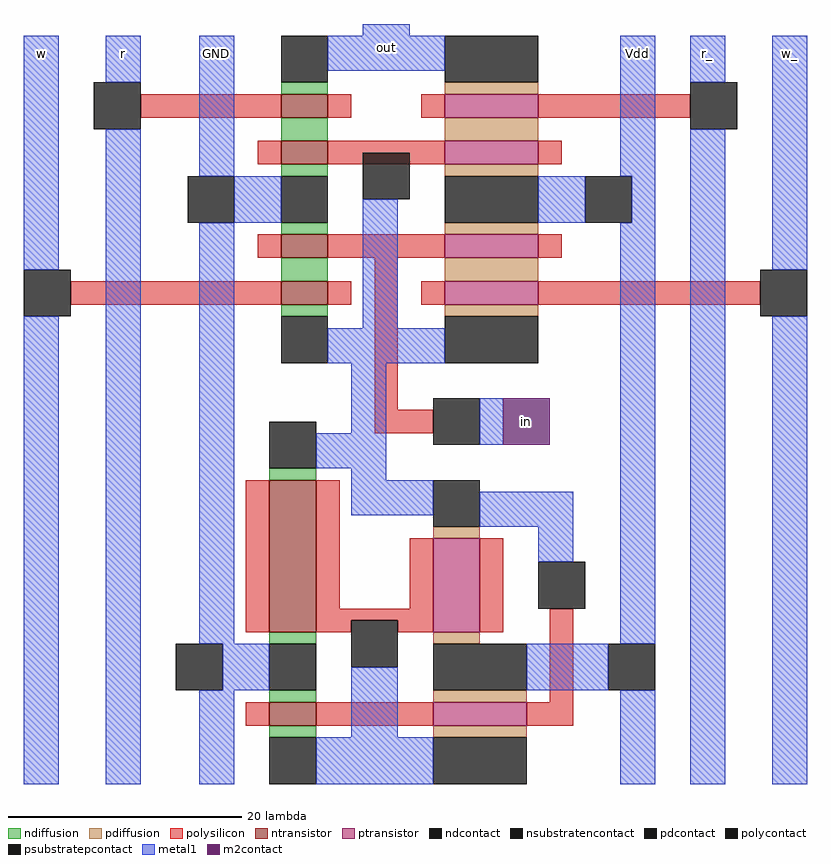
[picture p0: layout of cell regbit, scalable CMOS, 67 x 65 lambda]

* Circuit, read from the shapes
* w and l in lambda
.subckt regbit GND Vdd in out r r_ w w_
M1 GND outlatch/in staticizer_0/inverter_0/out GND nfet w=4 l=2
M2 outlatch/in staticizer_0/inverter_0/out GND GND nfet w=4 l=13
M3 n1 w outlatch/in GND nfet w=4 l=2
M4 GND in n1 GND nfet w=4 l=2
M5 n2 outlatch/in GND GND nfet w=4 l=2
M6 out r n2 GND nfet w=4 l=2
M7 Vdd outlatch/in staticizer_0/inverter_0/out Vdd pfet w=8 l=2
M8 outlatch/in staticizer_0/inverter_0/out Vdd Vdd pfet w=4 l=8
M9 n3 w_ outlatch/in Vdd pfet w=8 l=2
M10 Vdd in n3 Vdd pfet w=8 l=2
M11 n4 outlatch/in Vdd Vdd pfet w=8 l=2
M12 out r_ n4 Vdd pfet w=8 l=2
.ends

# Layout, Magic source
magic
tech scmos
<< polysilicon >>
rect -13 28 -3 30
rect 23 28 34 30
rect 7 25 9 26
rect -19 12 -3 14
rect 7 3 9 18
rect 23 12 40 14
rect 7 1 12 3
<< metal1 >>
rect -23 15 -20 35
rect -16 31 -13 35
rect -23 -29 -20 11
rect -16 -29 -13 27
rect -8 23 -5 35
rect 6 32 10 36
rect -5 19 -1 23
rect 28 23 31 35
rect -8 -17 -5 19
rect 6 10 9 21
rect 21 19 25 23
rect 29 19 31 23
rect 5 7 9 10
rect 5 1 8 7
rect 16 0 18 4
rect 28 -17 31 19
rect -6 -21 -2 -17
rect 26 -21 27 -17
rect -8 -29 -5 -21
rect 28 -29 31 -21
rect 34 31 37 35
rect 34 -29 37 27
rect 41 15 44 35
rect 41 -29 44 11
<< polycontact >>
rect -17 27 -13 31
rect 34 27 38 31
rect 6 21 10 25
rect -23 11 -19 15
rect 40 11 44 15
rect 12 0 16 4
<< m2contact >>
rect 18 0 22 4
<< psubstratepcontact >>
rect -9 19 -5 23
rect -10 -21 -6 -17
<< nsubstratencontact >>
rect 25 19 29 23
rect 27 -21 31 -17
use latch  outlatch
transform 0 1 -1 1 0 25
box -6 -2 10 24
use latch  inlatch
transform 0 1 -1 -1 0 17
box -6 -2 10 24
use staticizer  staticizer_0
transform 0 1 -6 -1 0 -17
box -19 2 12 32
<< labels >>
rlabel m2contact 18 0 22 4 1 in
rlabel metal1 6 32 10 36 5 out
rlabel metal1 -8 32 -5 35 5 GND
rlabel metal1 28 32 31 35 5 Vdd
rlabel metal1 34 32 37 35 5 r_
rlabel metal1 41 32 44 35 6 w_
rlabel metal1 -23 32 -20 35 4 w
rlabel metal1 -16 32 -13 35 5 r
<< end >>

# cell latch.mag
magic
tech scmos
<< polysilicon >>
rect -1 22 1 24
rect 3 22 5 24
rect -1 4 1 14
rect 3 12 5 14
rect 3 4 5 6
rect -1 -2 1 0
rect 3 -2 5 0
<< ndiffusion >>
rect -2 0 -1 4
rect 1 0 3 4
rect 5 0 6 4
<< pdiffusion >>
rect -2 14 -1 22
rect 1 14 3 22
rect 5 14 6 22
<< metal1 >>
rect 7 4 10 14
<< ntransistor >>
rect -1 0 1 4
rect 3 0 5 4
<< ptransistor >>
rect -1 14 1 22
rect 3 14 5 22
<< ndcontact >>
rect -6 0 -2 4
rect 6 0 10 4
<< pdcontact >>
rect -6 14 -2 22
rect 6 14 10 22
<< labels >>
rlabel polysilicon 3 22 5 24 5 latch_
rlabel polysilicon 3 -2 5 0 1 latch
rlabel pdcontact -6 14 -2 22 3 Vdd
rlabel ndcontact -6 0 -2 4 2 GND
rlabel polysilicon -1 8 1 10 1 in
rlabel metal1 7 8 10 10 7 out
<< end >>

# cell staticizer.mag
magic
tech scmos
<< polysilicon >>
rect -3 28 7 30
rect -9 22 -1 24
rect -9 16 -1 18
rect -3 15 -1 16
rect -3 11 -2 15
rect -3 10 -1 11
rect -14 8 -1 10
rect -14 2 -1 4
<< ndiffusion >>
rect -15 4 -14 8
rect -1 4 0 8
<< pdiffusion >>
rect -10 18 -9 22
rect -1 18 0 22
<< metal1 >>
rect -13 27 -7 30
rect -13 22 -10 27
rect 0 26 4 32
rect -14 14 -11 18
rect -18 11 -11 14
rect 2 11 12 15
rect -18 8 -15 11
<< ntransistor >>
rect -14 4 -1 8
<< ptransistor >>
rect -9 18 -1 22
<< polycontact >>
rect -7 27 -3 31
rect -2 11 2 15
<< ndcontact >>
rect -19 4 -15 8
rect 0 4 4 8
<< pdcontact >>
rect -14 18 -10 22
rect 0 18 4 26
use inverter  inverter_0
transform 1 0 5 0 1 -3
box -5 5 7 31
<< labels >>
rlabel metal1 0 28 4 32 5 Vdd
rlabel ndcontact 0 4 4 8 1 GND
rlabel polycontact -7 27 -3 31 5 in
<< end >>

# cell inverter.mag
magic
tech scmos
<< polysilicon >>
rect 0 29 2 31
rect 0 11 2 21
rect 0 5 2 7
<< ndiffusion >>
rect -1 7 0 11
rect 2 7 3 11
<< pdiffusion >>
rect -1 21 0 29
rect 2 21 3 29
<< metal1 >>
rect 3 11 7 21
<< ntransistor >>
rect 0 7 2 11
<< ptransistor >>
rect 0 21 2 29
<< ndcontact >>
rect -5 7 -1 11
rect 3 7 7 11
<< pdcontact >>
rect -5 21 -1 29
rect 3 21 7 29
<< labels >>
rlabel metal1 5 16 5 16 7 out
<< end >>
